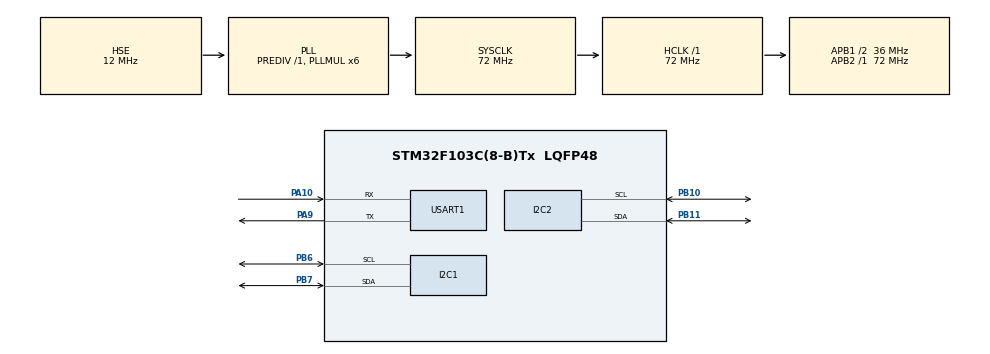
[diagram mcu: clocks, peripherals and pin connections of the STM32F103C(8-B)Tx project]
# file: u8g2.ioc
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I2C2.I2C_Mode=I2C_Fast
I2C2.OwnAddress=0x78
Mcu.Family=STM32F1
Mcu.Name=STM32F103C(8-B)Tx
Mcu.Package=LQFP48
NVIC.I2C2_ER_IRQn=true\:4\:0\:true\:false\:true\:true\:true\:true
NVIC.I2C2_EV_IRQn=true\:2\:0\:true\:false\:true\:true\:true\:true
NVIC.PriorityGroup=NVIC_PRIORITYGROUP_4
NVIC.USART1_IRQn=true\:3\:0\:true\:false\:true\:true\:true\:true
PA10.Mode=Asynchronous
PA10.Signal=USART1_RX
PA13.Mode=Serial_Wire
PA13.Signal=SYS_JTMS-SWDIO
PA14.Mode=Serial_Wire
PA14.Signal=SYS_JTCK-SWCLK
PA9.Mode=Asynchronous
PA9.Signal=USART1_TX
PB10.Mode=I2C
PB10.Signal=I2C2_SCL
PB11.Mode=I2C
PB11.Signal=I2C2_SDA
PB6.Mode=I2C
PB6.Signal=I2C1_SCL
PB7.Mode=I2C
PB7.Signal=I2C1_SDA
PC14-OSC32_IN.Mode=LSE-External-Oscillator
PC14-OSC32_IN.Signal=RCC_OSC32_IN
PC15-OSC32_OUT.Mode=LSE-External-Oscillator
PC15-OSC32_OUT.Signal=RCC_OSC32_OUT
PD0-OSC_IN.Mode=HSE-External-Oscillator
PD0-OSC_IN.Signal=RCC_OSC_IN
PD1-OSC_OUT.Mode=HSE-External-Oscillator
PD1-OSC_OUT.Signal=RCC_OSC_OUT
ProjectManager.HeapSize=0x200
ProjectManager.StackSize=0x400
ProjectManager.TargetToolchain=MDK-ARM V5.32
RCC.AHBFreq_Value=72000000
RCC.APB1CLKDivider=RCC_HCLK_DIV2
RCC.APB1Freq_Value=36000000
RCC.APB1TimFreq_Value=72000000
RCC.APB2Freq_Value=72000000
RCC.APB2TimFreq_Value=72000000
RCC.HCLKFreq_Value=72000000
RCC.HSE_VALUE=12000000
RCC.PLLMUL=RCC_PLL_MUL6
RCC.PLLSourceVirtual=RCC_PLLSOURCE_HSE
RCC.SYSCLKFreq_VALUE=72000000
RCC.SYSCLKSource=RCC_SYSCLKSOURCE_PLLCLK
RCC.USBFreq_Value=72000000
USART1.VirtualMode=VM_ASYNC
board=custom

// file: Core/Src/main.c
/* USER CODE BEGIN Header */
/**
  ******************************************************************************
  * @file           : main.c
  * @brief          : Main program body
  ******************************************************************************
  * @attention
  *
  * Copyright (c) 2023 STMicroelectronics.
  * All rights reserved.
  *
  * This software is licensed under terms that can be found in the LICENSE file
  * in the root directory of this software component.
  * If no LICENSE file comes with this software, it is provided AS-IS.
  *
  ******************************************************************************
  */
/* USER CODE END Header */
#include "main.h"
#include "i2c.h"
#include "usart.h"
#include "gpio.h"

/* USER CODE BEGIN Includes */
#include "OLED.h"
#include "u8g2.h"
/* USER CODE END Includes */

void SystemClock_Config(void);

/* USER CODE BEGIN 0 */
uint8_t flag=1;
uint8_t buffer[1024]={0};
/* USER CODE END 0 */

int main(void)
{
  /* USER CODE BEGIN 1 */
	int i=0;
  /* USER CODE END 1 */

  /* MCU Configuration--------------------------------------------------------*/

  /* Reset of all peripherals, Initializes the Flash interface and the Systick. */
  HAL_Init();

  /* Configure the system clock */
  SystemClock_Config();

  /* Initialize all configured peripherals */
  MX_GPIO_Init();
  MX_I2C2_Init();
  MX_USART1_UART_Init();
  MX_I2C1_Init();
  /* USER CODE BEGIN 2 */
	u8g2_t u8g2;
	u8g2Init(&u8g2);
	u8g2_ClearBuffer(&u8g2);
	u8g2_SendBuffer(&u8g2);
	u8g2_ClearBuffer(&u8g2);
	u8g2_SetFont(&u8g2,u8g2_font_DigitalDiscoThin_tf);
	u8g2_DrawDisc(&u8g2,50,30,10,U8G2_DRAW_ALL);
	u8g2_SendBuffer(&u8g2);
	i=1;
  /* USER CODE END 2 */

  /* Infinite loop */
  while (1)
  {

    /* USER CODE BEGIN 3 */
		u8g2_ClearBuffer(&u8g2);
		u8g2_DrawRFrame(&u8g2,34,31-i/2,15,i+4,i/5);
		u8g2_DrawRFrame(&u8g2,84,31-i/2,15,i+4,i/5);
		if(flag) ++i;
		else --i;
		if(i>=20) flag=0;
		else if(i<=0) flag=1;
		u8g2_SendBuffer(&u8g2);

  }
  /* USER CODE END 3 */
}

void SystemClock_Config(void)
{
  RCC_OscInitTypeDef RCC_OscInitStruct = {0};
  RCC_ClkInitTypeDef RCC_ClkInitStruct = {0};

  /** Initializes the RCC Oscillators according to the specified parameters
  * in the RCC_OscInitTypeDef structure.
  */
  RCC_OscInitStruct.OscillatorType = RCC_OSCILLATORTYPE_HSE;
  RCC_OscInitStruct.HSEState = RCC_HSE_ON;
  RCC_OscInitStruct.HSEPredivValue = RCC_HSE_PREDIV_DIV1;
  RCC_OscInitStruct.HSIState = RCC_HSI_ON;
  RCC_OscInitStruct.PLL.PLLState = RCC_PLL_ON;
  RCC_OscInitStruct.PLL.PLLSource = RCC_PLLSOURCE_HSE;
  RCC_OscInitStruct.PLL.PLLMUL = RCC_PLL_MUL6;
  if (HAL_RCC_OscConfig(&RCC_OscInitStruct) != HAL_OK)
  {
    Error_Handler();
  }

  /** Initializes the CPU, AHB and APB buses clocks
  */
  RCC_ClkInitStruct.ClockType = RCC_CLOCKTYPE_HCLK|RCC_CLOCKTYPE_SYSCLK
                              |RCC_CLOCKTYPE_PCLK1|RCC_CLOCKTYPE_PCLK2;
  RCC_ClkInitStruct.SYSCLKSource = RCC_SYSCLKSOURCE_PLLCLK;
  RCC_ClkInitStruct.AHBCLKDivider = RCC_SYSCLK_DIV1;
  RCC_ClkInitStruct.APB1CLKDivider = RCC_HCLK_DIV2;
  RCC_ClkInitStruct.APB2CLKDivider = RCC_HCLK_DIV1;

  if (HAL_RCC_ClockConfig(&RCC_ClkInitStruct, FLASH_LATENCY_2) != HAL_OK)
  {
    Error_Handler();
  }
}

void Error_Handler(void)
{
  __disable_irq();
  while (1)
  {
  }
}
